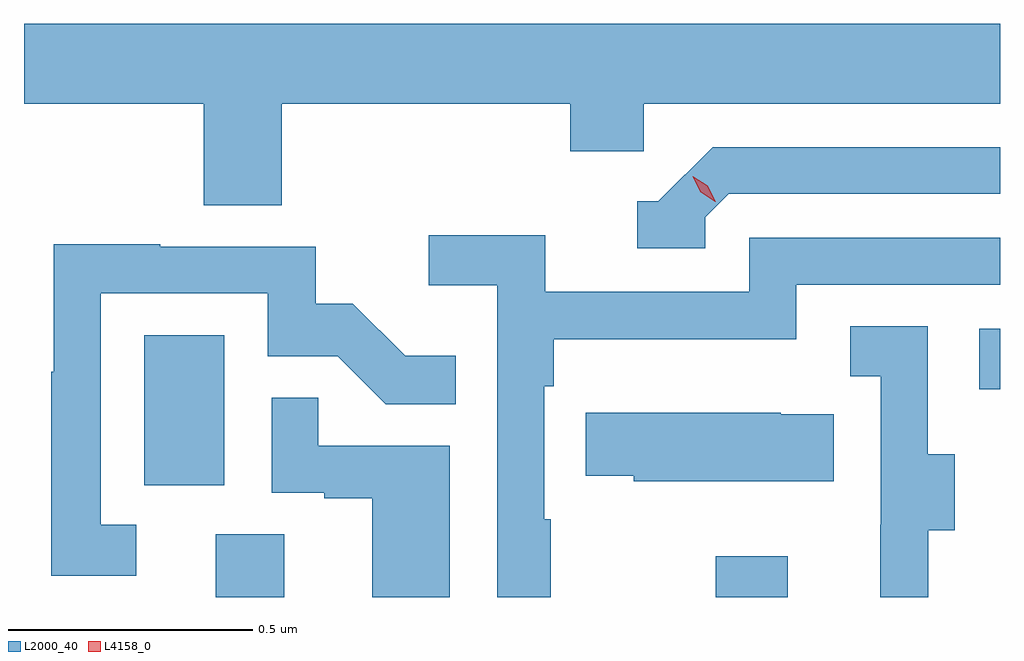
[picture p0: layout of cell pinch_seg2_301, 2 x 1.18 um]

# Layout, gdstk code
import gdstk
lib = gdstk.Library(unit=1e-6, precision=1e-09)
def R(c, l, rs):  # rectangles x0, y0, x1, y1
    for r in rs: c.add(gdstk.rectangle(r[:2], r[2:], *l))
def P(c, l, *ps):  # polygons
    for p in ps: c.add(gdstk.Polygon(p, *l))
L2000_40 = (2000, 40)
L4158_0 = (4158, 0)

pinch_seg2_301 = lib.new_cell('pinch_seg2_301')
R(pinch_seg2_301, L2000_40, [(921.599,635.968,921.739,636.098), (922.624,635.968,922.771,636.052), (921.452,636.198,921.616,636.505), (923.163,636.395,923.206,636.519)])
P(pinch_seg2_301, L2000_40, [(921.734,636.98),(922.325,636.98),(922.325,636.882),(922.476,636.882),(922.476,636.98),(923.206,636.98),(923.206,637.144),(921.206,637.144),(921.206,636.98),(921.574,636.98),(921.574,636.772),(921.734,636.772)],
  [(922.602,636.747),(922.65,636.795),(923.206,636.795),(923.206,636.891),(922.617,636.891),(922.506,636.78),(922.463,636.78),(922.463,636.684),(922.602,636.684)],
  [(922.285,636.128),(922.272,636.128),(922.272,636.401),(922.292,636.401),(922.292,636.497),(922.788,636.497),(922.788,636.609),(923.206,636.609),(923.206,636.705),(922.692,636.705),(922.692,636.594),(922.274,636.594),(922.274,636.71),(922.035,636.71),(922.035,636.608),(922.176,636.608),(922.176,635.968),(922.285,635.968)],
  [(921.436,636.117),(921.363,636.117),(921.363,636.591),(921.705,636.591),(921.705,636.462),(921.849,636.462),(921.947,636.364),(922.091,636.364),(922.091,636.463),(921.987,636.463),(921.88,636.57),(921.804,636.57),(921.804,636.687),(921.485,636.687),(921.485,636.692),(921.267,636.692),(921.267,636.431),(921.262,636.431),(921.262,636.012),(921.436,636.012)],
  [(923.059,636.106),(923.113,636.106),(923.113,636.261),(923.058,636.261),(923.058,636.524),(922.899,636.524),(922.899,636.421),(922.962,636.421),(922.962,636.117),(922.961,636.117),(922.961,635.968),(923.059,635.968)],
  [(922.078,636.279),(921.809,636.279),(921.809,636.377),(921.714,636.377),(921.714,636.183),(921.821,636.183),(921.821,636.171),(921.92,636.171),(921.92,635.968),(922.078,635.968)],
  [(922.865,636.343),(922.757,636.343),(922.757,636.346),(922.357,636.346),(922.357,636.217),(922.455,636.217),(922.455,636.206),(922.865,636.206)])
P(pinch_seg2_301, L4158_0, [(922.623,636.779),(922.593,636.798),(922.576,636.83),(922.576,636.831),(922.576,636.831),(922.607,636.812),(922.624,636.779),(922.624,636.779)])

lib.write_gds('pinch_seg2_301.gds')
